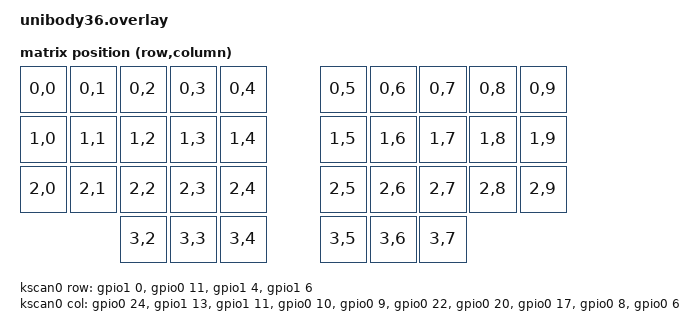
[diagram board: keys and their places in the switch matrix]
/*
 * Correct configuration based on actual wiring:
 * - Diodes chain left-to-right forming ROWS (rightmost connects to board)
 * - Columns are separate vertical wires (topmost connects to board)
 * - Cathode (black) points rightward in the chain
 * - This is col2row (columns driven, rows sensed)
 */

#include <dt-bindings/zmk/matrix_transform.h>

/ {
    chosen {
        zmk,kscan = &kscan0;
        zmk,matrix_transform = &default_transform;
    };

    default_transform: keymap_transform_0 {
        compatible = "zmk,matrix-transform";
        columns = <10>;
        rows = <4>;

        map = <
RC(0,0) RC(0,1) RC(0,2) RC(0,3) RC(0,4)  RC(0,5) RC(0,6) RC(0,7) RC(0,8) RC(0,9)
RC(1,0) RC(1,1) RC(1,2) RC(1,3) RC(1,4)  RC(1,5) RC(1,6) RC(1,7) RC(1,8) RC(1,9)
RC(2,0) RC(2,1) RC(2,2) RC(2,3) RC(2,4)  RC(2,5) RC(2,6) RC(2,7) RC(2,8) RC(2,9)
                RC(3,2) RC(3,3) RC(3,4)  RC(3,5) RC(3,6) RC(3,7)
        >;
    };

    kscan0: kscan {
        compatible = "zmk,kscan-gpio-matrix";
        label = "KSCAN";
        wakeup-source;

        diode-direction = "col2row";

        // Rows moved to left side (swapped from right): P1.13→P1.00, P1.11→P0.11, P0.10→P1.04, P0.09→P1.06
        // With col2row, rows are INPUTS (sensed)
        row-gpios
            = <&gpio1 0  (GPIO_ACTIVE_HIGH | GPIO_PULL_DOWN)>  // P1.00 - Top row    (was P1.13)
            , <&gpio0 11 (GPIO_ACTIVE_HIGH | GPIO_PULL_DOWN)>  // P0.11 - Second row (was P1.11)
            , <&gpio1 4  (GPIO_ACTIVE_HIGH | GPIO_PULL_DOWN)>  // P1.04 - Third row  (was P0.10)
            , <&gpio1 6  (GPIO_ACTIVE_HIGH | GPIO_PULL_DOWN)>  // P1.06 - Bottom row (was P0.09)
            ;

        // Cols: bottom 4 moved to right side, P0.24 stays, top 5 unchanged
        // Swapped: P1.00→P1.13, P0.11→P1.11, P1.04→P0.10, P1.06→P0.09
        col-gpios
            = <&gpio0 24 GPIO_ACTIVE_HIGH>  // P0.24 - Col 0 (stays, no swap partner)
            , <&gpio1 13 GPIO_ACTIVE_HIGH>  // P1.13 - Col 1 (was row 0)
            , <&gpio1 11 GPIO_ACTIVE_HIGH>  // P1.11 - Col 2 (was row 1)
            , <&gpio0 10 GPIO_ACTIVE_HIGH>  // P0.10 - Col 3 (was row 2)
            , <&gpio0 9  GPIO_ACTIVE_HIGH>  // P0.09 - Col 4 (was row 3)
            , <&gpio0 22 GPIO_ACTIVE_HIGH>  // P0.22 - Col 5 (unchanged)
            , <&gpio0 20 GPIO_ACTIVE_HIGH>  // P0.20 - Col 6 (unchanged)
            , <&gpio0 17 GPIO_ACTIVE_HIGH>  // P0.17 - Col 7 (unchanged)
            , <&gpio0 8  GPIO_ACTIVE_HIGH>  // P0.08 - Col 8 (unchanged)
            , <&gpio0 6  GPIO_ACTIVE_HIGH>  // P0.06 - Col 9 (unchanged)
            ;
    };
};
